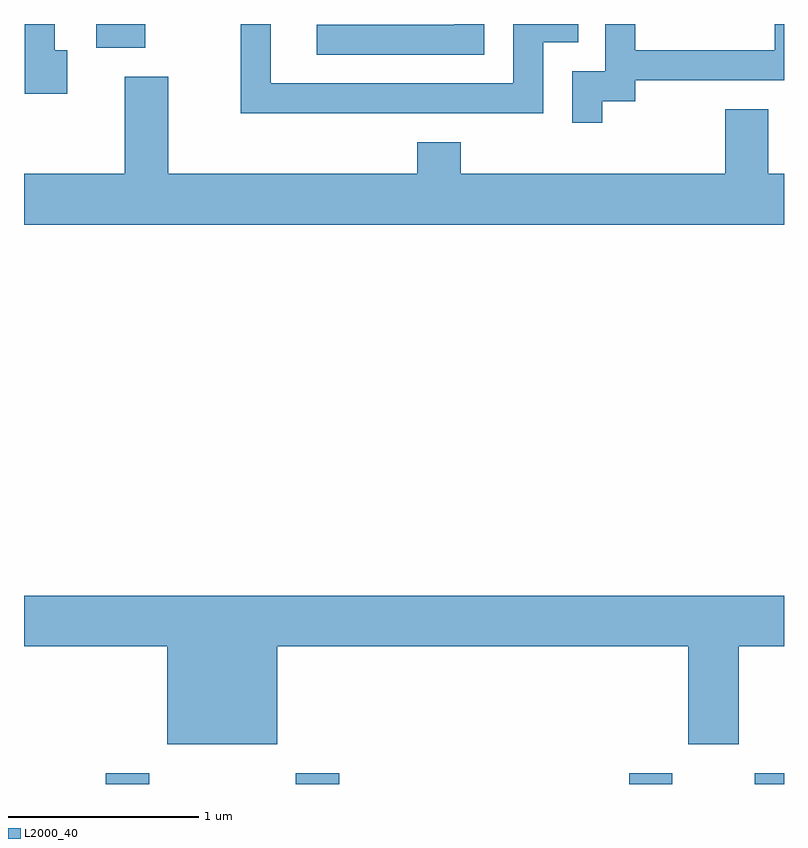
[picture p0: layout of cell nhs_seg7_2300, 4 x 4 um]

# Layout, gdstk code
import gdstk
lib = gdstk.Library(unit=1e-6, precision=1e-09)
def R(c, l, rs):  # rectangles x0, y0, x1, y1
    for r in rs: c.add(gdstk.rectangle(r[:2], r[2:], *l))
def P(c, l, *ps):  # polygons
    for p in ps: c.add(gdstk.Polygon(p, *l))
L2000_40 = (2000, 40)

nhs_seg7_2300 = lib.new_cell('nhs_seg7_2300')
R(nhs_seg7_2300, L2000_40, [(256.041,1720.252,256.269,1720.309), (257.041,1720.252,257.269,1720.309), (258.796,1720.252,259.024,1720.309), (259.456,1720.252,259.611,1720.309), (255.991,1724.126,256.249,1724.252)])
P(nhs_seg7_2300, L2000_40, [(255.839,1724.114),(255.774,1724.114),(255.774,1724.252),(255.616,1724.252),(255.616,1723.886),(255.839,1723.886)],
  [(258.654,1723.846),(258.829,1723.846),(258.829,1723.956),(259.611,1723.956),(259.611,1724.252),(259.561,1724.252),(259.561,1724.114),(258.829,1724.114),(258.829,1724.252),(258.671,1724.252),(258.671,1724.004),(258.496,1724.004),(258.496,1723.733),(258.654,1723.733)],
  [(258.034,1724.252),(257.876,1724.252),(257.876,1724.249),(257.153,1724.249),(257.153,1724.091),(258.034,1724.091)],
  [(258.344,1724.156),(258.528,1724.156),(258.528,1724.252),(258.186,1724.252),(258.186,1723.939),(256.909,1723.939),(256.909,1724.252),(256.751,1724.252),(256.751,1723.781),(258.344,1723.781)],
  [(259.611,1723.464),(259.529,1723.464),(259.529,1723.804),(259.301,1723.804),(259.301,1723.464),(257.909,1723.464),(257.909,1723.629),(257.681,1723.629),(257.681,1723.464),(256.369,1723.464),(256.369,1723.974),(256.141,1723.974),(256.141,1723.464),(255.611,1723.464),(255.611,1723.196),(259.611,1723.196)],
  [(255.611,1720.976),(256.366,1720.976),(256.366,1720.461),(256.944,1720.461),(256.944,1720.976),(259.106,1720.976),(259.106,1720.461),(259.374,1720.461),(259.374,1720.976),(259.611,1720.976),(259.611,1721.244),(255.611,1721.244)])

lib.write_gds('nhs_seg7_2300.gds')
